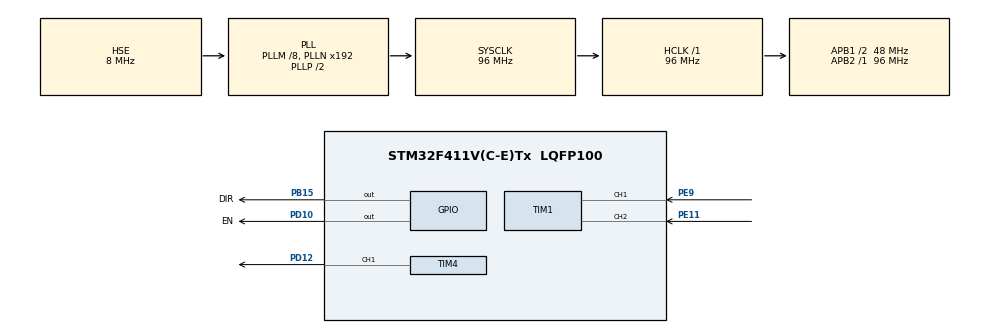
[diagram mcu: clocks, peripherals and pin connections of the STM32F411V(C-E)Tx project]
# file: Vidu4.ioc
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Mcu.Family=STM32F4
Mcu.Name=STM32F411V(C-E)Tx
Mcu.Package=LQFP100
NVIC.PriorityGroup=NVIC_PRIORITYGROUP_4
PB15.GPIO_Label=DIR
PB15.Signal=GPIO_Output
PD10.GPIO_Label=EN
PD10.Signal=GPIO_Output
PD12.Signal=S_TIM4_CH1
PE11.Signal=S_TIM1_CH2
PE9.Signal=S_TIM1_CH1
PH0\ -\ OSC_IN.Mode=HSE-External-Oscillator
PH0\ -\ OSC_IN.Signal=RCC_OSC_IN
PH1\ -\ OSC_OUT.Mode=HSE-External-Oscillator
PH1\ -\ OSC_OUT.Signal=RCC_OSC_OUT
ProjectManager.HeapSize=0x200
ProjectManager.StackSize=0x400
ProjectManager.TargetToolchain=MDK-ARM V5.32
RCC.48MHZClocksFreq_Value=48000000
RCC.AHBFreq_Value=96000000
RCC.APB1CLKDivider=RCC_HCLK_DIV2
RCC.APB1Freq_Value=48000000
RCC.APB1TimFreq_Value=96000000
RCC.APB2Freq_Value=96000000
RCC.APB2TimFreq_Value=96000000
RCC.CortexFreq_Value=96000000
RCC.HCLKFreq_Value=96000000
RCC.HSE_VALUE=8000000
RCC.HSI_VALUE=16000000
RCC.LSE_VALUE=32768
RCC.PLLM=8
RCC.PLLSourceVirtual=RCC_PLLSOURCE_HSE
RCC.SYSCLKFreq_VALUE=96000000
RCC.SYSCLKSource=RCC_SYSCLKSOURCE_PLLCLK
RCC.VCOOutputFreq_Value=192000000
SH.S_TIM1_CH1.0=TIM1_CH1,Encoder_Interface
SH.S_TIM1_CH2.0=TIM1_CH2,Encoder_Interface
SH.S_TIM4_CH1.0=TIM4_CH1,PWM Generation1 CH1
TIM4.Channel-PWM\ Generation1\ CH1=TIM_CHANNEL_1
TIM4.Period=999
TIM4.Prescaler=47
VP_TIM4_VS_ClockSourceINT.Mode=Internal
board=custom

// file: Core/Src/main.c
/* USER CODE BEGIN Header */
/**
  ******************************************************************************
  * @file           : main.c
  * @brief          : Main program body
  ******************************************************************************
  * @attention
  *
  * Copyright (c) 2025 STMicroelectronics.
  * All rights reserved.
  *
  * This software is licensed under terms that can be found in the LICENSE file
  * in the root directory of this software component.
  * If no LICENSE file comes with this software, it is provided AS-IS.
  *
  ******************************************************************************
  */
/* USER CODE END Header */
#include "main.h"

/* USER CODE BEGIN Includes */
#include "driver.h"    /* Custom Driver for Motor & Encoder (F411 Adapted) */
#include "pid.h"       /* Simulink generated header */
#include "rtwtypes.h"  /* MathWorks types definition */
/* USER CODE END Includes */

TIM_HandleTypeDef htim1;
TIM_HandleTypeDef htim4;

/* USER CODE BEGIN PV */
/* --- Variables from Teacher's Code --- */
/* Note: tick_flag must be declared as extern in stm32f4xx_it.c */
volatile uint32_t tick_count = 0;
volatile uint32_t  tick_flag = 0;

/* Simulink Overrun Flag */
static boolean_T OverrunFlag = 0;

/* Control Variables */
int16_t udk;
/* USER CODE END PV */

void SystemClock_Config(void);
static void MX_GPIO_Init(void);
static void MX_TIM1_Init(void);
static void MX_TIM4_Init(void);

/* USER CODE BEGIN 0 */

/* * rt_OneStep: Executed every 5ms
 * This function steps the PID model generated by Matlab/Simulink.
 * Logic copied from main_f407.c
 */
void rt_OneStep(void)
{
  /* Check for overrun (previous step not finished) */
  if (OverrunFlag++) {
    rtmSetErrorStatus(pid_M, "Overrun");
    return;
  }

  /* Step the PID model */
  pid_step();

  /* Indicate task complete */
  OverrunFlag--;
}

/* USER CODE END 0 */

int main(void)
{

  /* MCU Configuration--------------------------------------------------------*/

  /* Reset of all peripherals, Initializes the Flash interface and the Systick. */
  HAL_Init();

  /* Configure the system clock */
  SystemClock_Config();

  /* Initialize all configured peripherals */
  MX_GPIO_Init();
  MX_TIM1_Init();
  MX_TIM4_Init();
  /* USER CODE BEGIN 2 */

  /* --- SYSTEM INITIALIZATION (Adapted from Teacher's Code) --- */

  /* 1. Initialize Drivers (PWM, Encoder, DWT Delay) */
  /* This replaces the old init_main() function */
  Driver_Init_All();

  /* 2. Set Initial PWM State */
  PWM0_Set_Freq(1000); // Set PWM Frequency to 1kHz
  PWM0_Set_Duty(0);    // Motor Stop initially

  /* 3. Initialize PID Model */
  pid_initialize();

  /* Note: SysTick_Config is not needed here.
     We use the default HAL SysTick (1ms) and handle the 5ms divider
     inside SysTick_Handler (stm32f4xx_it.c) */

  /* USER CODE END 2 */

  /* Infinite loop */
  while (1)
  {

    /* USER CODE BEGIN 3 */

    /* --- CONTROL LOOP --- */
    /* tick_flag is set to 1 every 5ms by SysTick_Handler */
    if (tick_flag == 1)
    {
        tick_flag = 0; // Clear flag

        /* A. Read Sensor (Encoder) */
        /* Convert raw pulses to degrees: (Pos / 4000) * 360 */
        /* Note: In2 is defined in pid.h/pid.c */
        In2 = (double)ENC0_GetPos() / 4000.0 * 360.0;

        /* B. Run Control Algorithm (PID) */
        rt_OneStep();

        /* C. Process Output */
        /* Scale PID output for PWM duty cycle */
        /* Teacher's logic: Out1 * 1000 / 12 */
        Out1 = Out1 * 1000.0 / 12.0;

        /* D. Actuate Motor */
        udk = (int16_t)Out1;
        PWM0_Set_Duty(udk);

        /* E. Safety Break (Teacher's logic) */
        /* Stop loop after 4000 ticks (approx 20 seconds) */
        if (tick_count > 4000) {
            break;
        }
    }
  }

  /* Stop Motor if loop exits */
  PWM0_Set_Duty(0);

  /* Prevent main() from returning */
  while(1);

  /* Terminate model (Unreachable in this context but good practice) */
  pid_terminate();

  /* USER CODE END 3 */
}

void SystemClock_Config(void)
{
  RCC_OscInitTypeDef RCC_OscInitStruct = {0};
  RCC_ClkInitTypeDef RCC_ClkInitStruct = {0};

  /** Configure the main internal regulator output voltage
  */
  __HAL_RCC_PWR_CLK_ENABLE();
  __HAL_PWR_VOLTAGESCALING_CONFIG(PWR_REGULATOR_VOLTAGE_SCALE1);

  /** Initializes the RCC Oscillators according to the specified parameters
  * in the RCC_OscInitTypeDef structure.
  */
  RCC_OscInitStruct.OscillatorType = RCC_OSCILLATORTYPE_HSE;
  RCC_OscInitStruct.HSEState = RCC_HSE_ON;
  RCC_OscInitStruct.PLL.PLLState = RCC_PLL_ON;
  RCC_OscInitStruct.PLL.PLLSource = RCC_PLLSOURCE_HSE;
  RCC_OscInitStruct.PLL.PLLM = 8; /* Input / 8 = 1MHz */
  RCC_OscInitStruct.PLL.PLLN = 192; /* 1MHz * 192 = 192MHz */
  RCC_OscInitStruct.PLL.PLLP = RCC_PLLP_DIV2; /* 192 / 2 = 96MHz (SYSCLK) */
  RCC_OscInitStruct.PLL.PLLQ = 4;
  if (HAL_RCC_OscConfig(&RCC_OscInitStruct) != HAL_OK)
  {
    Error_Handler();
  }

  /** Initializes the CPU, AHB and APB buses clocks
  */
  RCC_ClkInitStruct.ClockType = RCC_CLOCKTYPE_HCLK|RCC_CLOCKTYPE_SYSCLK
                              |RCC_CLOCKTYPE_PCLK1|RCC_CLOCKTYPE_PCLK2;
  RCC_ClkInitStruct.SYSCLKSource = RCC_SYSCLKSOURCE_PLLCLK;
  RCC_ClkInitStruct.AHBCLKDivider = RCC_SYSCLK_DIV1;
  RCC_ClkInitStruct.APB1CLKDivider = RCC_HCLK_DIV2; /* 48MHz */
  RCC_ClkInitStruct.APB2CLKDivider = RCC_HCLK_DIV1; /* 96MHz */

  if (HAL_RCC_ClockConfig(&RCC_ClkInitStruct, FLASH_LATENCY_3) != HAL_OK)
  {
    Error_Handler();
  }
}

static void MX_TIM1_Init(void)
{
  /* Code generated by CubeMX - Do not edit manually */
  TIM_Encoder_InitTypeDef sConfig = {0};
  TIM_MasterConfigTypeDef sMasterConfig = {0};

  htim1.Instance = TIM1;
  htim1.Init.Prescaler = 0;
  htim1.Init.CounterMode = TIM_COUNTERMODE_UP;
  htim1.Init.Period = 65535;
  htim1.Init.ClockDivision = TIM_CLOCKDIVISION_DIV1;
  htim1.Init.RepetitionCounter = 0;
  htim1.Init.AutoReloadPreload = TIM_AUTORELOAD_PRELOAD_DISABLE;
  sConfig.EncoderMode = TIM_ENCODERMODE_TI1; /* Check if TI12 needed based on Teacher's code, usually TI1 or TI12 */
  sConfig.IC1Polarity = TIM_ICPOLARITY_RISING;
  sConfig.IC1Selection = TIM_ICSELECTION_DIRECTTI;
  sConfig.IC1Prescaler = TIM_ICPSC_DIV1;
  sConfig.IC1Filter = 0;
  sConfig.IC2Polarity = TIM_ICPOLARITY_RISING;
  sConfig.IC2Selection = TIM_ICSELECTION_DIRECTTI;
  sConfig.IC2Prescaler = TIM_ICPSC_DIV1;
  sConfig.IC2Filter = 0;
  if (HAL_TIM_Encoder_Init(&htim1, &sConfig) != HAL_OK)
  {
    Error_Handler();
  }
  sMasterConfig.MasterOutputTrigger = TIM_TRGO_RESET;
  sMasterConfig.MasterSlaveMode = TIM_MASTERSLAVEMODE_DISABLE;
  if (HAL_TIMEx_MasterConfigSynchronization(&htim1, &sMasterConfig) != HAL_OK)
  {
    Error_Handler();
  }
}

static void MX_TIM4_Init(void)
{
  /* Code generated by CubeMX - Do not edit manually */
  TIM_ClockConfigTypeDef sClockSourceConfig = {0};
  TIM_MasterConfigTypeDef sMasterConfig = {0};
  TIM_OC_InitTypeDef sConfigOC = {0};

  htim4.Instance = TIM4;
  htim4.Init.Prescaler = 47; /* 96MHz / 48 = 2MHz Clock */
  htim4.Init.CounterMode = TIM_COUNTERMODE_UP;
  htim4.Init.Period = 999;   /* 2MHz / 1000 = 2kHz PWM (Initial) */
  htim4.Init.ClockDivision = TIM_CLOCKDIVISION_DIV1;
  htim4.Init.AutoReloadPreload = TIM_AUTORELOAD_PRELOAD_DISABLE;
  if (HAL_TIM_Base_Init(&htim4) != HAL_OK)
  {
    Error_Handler();
  }
  sClockSourceConfig.ClockSource = TIM_CLOCKSOURCE_INTERNAL;
  if (HAL_TIM_ConfigClockSource(&htim4, &sClockSourceConfig) != HAL_OK)
  {
    Error_Handler();
  }
  if (HAL_TIM_PWM_Init(&htim4) != HAL_OK)
  {
    Error_Handler();
  }
  sMasterConfig.MasterOutputTrigger = TIM_TRGO_RESET;
  sMasterConfig.MasterSlaveMode = TIM_MASTERSLAVEMODE_DISABLE;
  if (HAL_TIMEx_MasterConfigSynchronization(&htim4, &sMasterConfig) != HAL_OK)
  {
    Error_Handler();
  }
  sConfigOC.OCMode = TIM_OCMODE_PWM1;
  sConfigOC.Pulse = 0;
  sConfigOC.OCPolarity = TIM_OCPOLARITY_HIGH;
  sConfigOC.OCFastMode = TIM_OCFAST_DISABLE;
  if (HAL_TIM_PWM_ConfigChannel(&htim4, &sConfigOC, TIM_CHANNEL_1) != HAL_OK)
  {
    Error_Handler();
  }
  HAL_TIM_MspPostInit(&htim4);
}

static void MX_GPIO_Init(void)
{
  GPIO_InitTypeDef GPIO_InitStruct = {0};

  /* GPIO Ports Clock Enable */
  __HAL_RCC_GPIOH_CLK_ENABLE();
  __HAL_RCC_GPIOE_CLK_ENABLE();
  __HAL_RCC_GPIOB_CLK_ENABLE();
  __HAL_RCC_GPIOD_CLK_ENABLE();

  /*Configure GPIO pin Output Level */
  HAL_GPIO_WritePin(DIR_GPIO_Port, DIR_Pin, GPIO_PIN_RESET);

  /*Configure GPIO pin Output Level */
  HAL_GPIO_WritePin(EN_GPIO_Port, EN_Pin, GPIO_PIN_RESET);

  /*Configure GPIO pin : DIR_Pin (PB15) */
  GPIO_InitStruct.Pin = DIR_Pin;
  GPIO_InitStruct.Mode = GPIO_MODE_OUTPUT_PP;
  GPIO_InitStruct.Pull = GPIO_NOPULL;
  GPIO_InitStruct.Speed = GPIO_SPEED_FREQ_LOW;
  HAL_GPIO_Init(DIR_GPIO_Port, &GPIO_InitStruct);

  /*Configure GPIO pin : EN_Pin (PD10) */
  GPIO_InitStruct.Pin = EN_Pin;
  GPIO_InitStruct.Mode = GPIO_MODE_OUTPUT_PP;
  GPIO_InitStruct.Pull = GPIO_NOPULL;
  GPIO_InitStruct.Speed = GPIO_SPEED_FREQ_LOW;
  HAL_GPIO_Init(EN_GPIO_Port, &GPIO_InitStruct);
}

void Error_Handler(void)
{
  __disable_irq();
  while (1)
  {
  }
}
